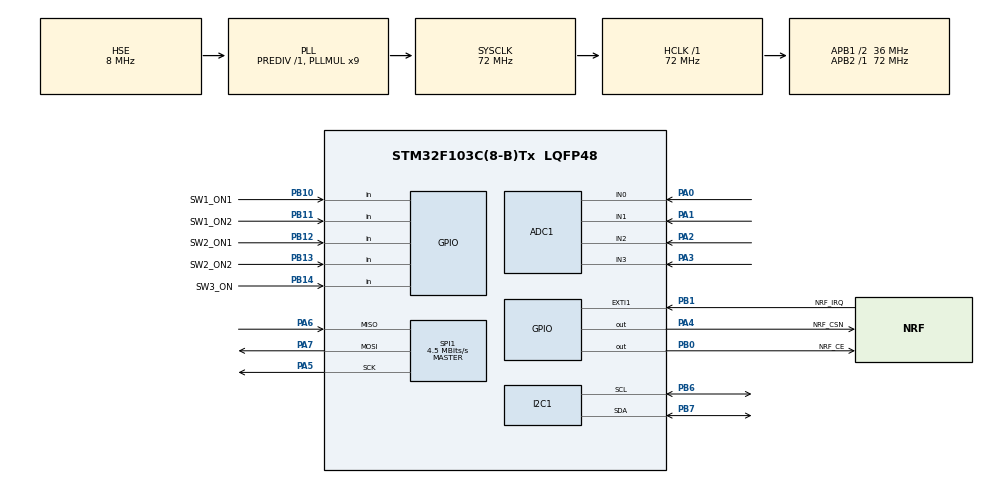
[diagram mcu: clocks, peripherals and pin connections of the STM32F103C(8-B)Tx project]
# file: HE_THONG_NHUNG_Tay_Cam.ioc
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ADC1.Channel-0\#ChannelRegularConversion=ADC_CHANNEL_0
ADC1.Channel-1\#ChannelRegularConversion=ADC_CHANNEL_1
ADC1.Channel-2\#ChannelRegularConversion=ADC_CHANNEL_2
ADC1.Channel-3\#ChannelRegularConversion=ADC_CHANNEL_3
ADC1.ContinuousConvMode=ENABLE
ADC1.NbrOfConversion=4
ADC1.NbrOfConversionFlag=1
ADC1.Rank-0\#ChannelRegularConversion=1
ADC1.Rank-1\#ChannelRegularConversion=2
ADC1.Rank-2\#ChannelRegularConversion=3
ADC1.Rank-3\#ChannelRegularConversion=4
ADC1.SamplingTime-0\#ChannelRegularConversion=ADC_SAMPLETIME_55CYCLES_5
ADC1.SamplingTime-1\#ChannelRegularConversion=ADC_SAMPLETIME_55CYCLES_5
ADC1.SamplingTime-2\#ChannelRegularConversion=ADC_SAMPLETIME_55CYCLES_5
ADC1.SamplingTime-3\#ChannelRegularConversion=ADC_SAMPLETIME_55CYCLES_5
ADC1.master=1
Dma.ADC1.0.Direction=DMA_PERIPH_TO_MEMORY
Dma.ADC1.0.Instance=DMA1_Channel1
Dma.ADC1.0.MemDataAlignment=DMA_MDATAALIGN_HALFWORD
Dma.ADC1.0.MemInc=DMA_MINC_ENABLE
Dma.ADC1.0.Mode=DMA_CIRCULAR
Dma.ADC1.0.PeriphDataAlignment=DMA_PDATAALIGN_HALFWORD
Dma.ADC1.0.PeriphInc=DMA_PINC_DISABLE
Dma.ADC1.0.Priority=DMA_PRIORITY_LOW
Dma.Request0=ADC1
FREERTOS.Tasks01=defaultTask,24,128,StartDefaultTask,Default,NULL,Dynamic,NULL,NULL
FREERTOS.configUSE_NEWLIB_REENTRANT=1
Mcu.Family=STM32F1
Mcu.Name=STM32F103C(8-B)Tx
Mcu.Package=LQFP48
NVIC.ADC1_2_IRQn=true\:5\:0\:false\:false\:true\:true\:true\:true\:true
NVIC.DMA1_Channel1_IRQn=true\:5\:0\:false\:false\:true\:true\:false\:true\:true
NVIC.EXTI1_IRQn=true\:6\:0\:true\:false\:true\:false\:true\:true\:true
NVIC.PriorityGroup=NVIC_PRIORITYGROUP_4
NVIC.TIM4_IRQn=true\:0\:0\:true\:false\:true\:false\:false\:true\:true
NVIC.TimeBase=TIM4_IRQn
NVIC.TimeBaseIP=TIM4
PA0-WKUP.Signal=ADCx_IN0
PA1.Signal=ADCx_IN1
PA13.Mode=Serial_Wire
PA13.Signal=SYS_JTMS-SWDIO
PA14.Mode=Serial_Wire
PA14.Signal=SYS_JTCK-SWCLK
PA2.Signal=ADCx_IN2
PA3.Signal=ADCx_IN3
PA4.GPIO_Label=NRF_CSN
PA4.GPIO_PuPd=GPIO_PULLUP
PA4.GPIO_Speed=GPIO_SPEED_FREQ_HIGH
PA4.PinState=GPIO_PIN_SET
PA4.Signal=GPIO_Output
PA5.Mode=Full_Duplex_Master
PA5.Signal=SPI1_SCK
PA6.Mode=Full_Duplex_Master
PA6.Signal=SPI1_MISO
PA7.Mode=Full_Duplex_Master
PA7.Signal=SPI1_MOSI
PB0.GPIO_Label=NRF_CE
PB0.GPIO_PuPd=GPIO_PULLDOWN
PB0.GPIO_Speed=GPIO_SPEED_FREQ_HIGH
PB0.PinState=GPIO_PIN_RESET
PB0.Signal=GPIO_Output
PB1.GPIO_Label=NRF_IRQ
PB1.GPIO_ModeDefaultEXTI=GPIO_MODE_IT_FALLING
PB1.GPIO_PuPd=GPIO_PULLUP
PB1.Signal=GPXTI1
PB10.GPIO_Label=SW1_ON1
PB10.GPIO_PuPd=GPIO_PULLUP
PB10.Signal=GPIO_Input
PB11.GPIO_Label=SW1_ON2
PB11.GPIO_PuPd=GPIO_PULLUP
PB11.Signal=GPIO_Input
PB12.GPIO_Label=SW2_ON1
PB12.GPIO_PuPd=GPIO_PULLUP
PB12.Signal=GPIO_Input
PB13.GPIO_Label=SW2_ON2
PB13.GPIO_PuPd=GPIO_PULLUP
PB13.Signal=GPIO_Input
PB14.GPIO_Label=SW3_ON
PB14.GPIO_PuPd=GPIO_PULLUP
PB14.Signal=GPIO_Input
PB6.Mode=I2C
PB6.Signal=I2C1_SCL
PB7.Mode=I2C
PB7.Signal=I2C1_SDA
PD0-OSC_IN.Mode=HSE-External-Oscillator
PD0-OSC_IN.Signal=RCC_OSC_IN
PD1-OSC_OUT.Mode=HSE-External-Oscillator
PD1-OSC_OUT.Signal=RCC_OSC_OUT
ProjectManager.HeapSize=0x200
ProjectManager.StackSize=0x400
ProjectManager.TargetToolchain=STM32CubeIDE
RCC.ADCPresc=RCC_ADCPCLK2_DIV6
RCC.AHBFreq_Value=72000000
RCC.APB1CLKDivider=RCC_HCLK_DIV2
RCC.APB1Freq_Value=36000000
RCC.APB1TimFreq_Value=72000000
RCC.APB2Freq_Value=72000000
RCC.APB2TimFreq_Value=72000000
RCC.HCLKFreq_Value=72000000
RCC.PLLMUL=RCC_PLL_MUL9
RCC.PLLSourceVirtual=RCC_PLLSOURCE_HSE
RCC.SYSCLKFreq_VALUE=72000000
RCC.SYSCLKSource=RCC_SYSCLKSOURCE_PLLCLK
RCC.USBFreq_Value=72000000
SH.ADCx_IN0.0=ADC1_IN0,IN0
SH.ADCx_IN1.0=ADC1_IN1,IN1
SH.ADCx_IN2.0=ADC1_IN2,IN2
SH.ADCx_IN3.0=ADC1_IN3,IN3
SPI1.BaudRatePrescaler=SPI_BAUDRATEPRESCALER_16
SPI1.CalculateBaudRate=4.5 MBits/s
SPI1.Direction=SPI_DIRECTION_2LINES
SPI1.Mode=SPI_MODE_MASTER
SPI1.VirtualType=VM_MASTER
VP_FREERTOS_VS_CMSIS_V2.Mode=CMSIS_V2
VP_SYS_VS_tim4.Mode=TIM4
board=custom

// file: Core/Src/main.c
/* USER CODE BEGIN Header */
/**
  ******************************************************************************
  * @file           : main.c
  * @brief          : Main program body
  ******************************************************************************
  * @attention
  *
  * Copyright (c) 2026 STMicroelectronics.
  * All rights reserved.
  *
  * This software is licensed under terms that can be found in the LICENSE file
  * in the root directory of this software component.
  * If no LICENSE file comes with this software, it is provided AS-IS.
  *
  ******************************************************************************
  */
/* USER CODE END Header */
#include "main.h"
#include "cmsis_os.h"
#include "nrf24.h"
#include <stdio.h>

ADC_HandleTypeDef hadc1;
DMA_HandleTypeDef hdma_adc1;

I2C_HandleTypeDef hi2c1;

SPI_HandleTypeDef hspi1;

/* Definitions for defaultTask */
osThreadId_t defaultTaskHandle;
const osThreadAttr_t defaultTask_attributes = {
  .name = "defaultTask",
  .stack_size = 128 * 4,
  .priority = (osPriority_t) osPriorityNormal,
};
/* USER CODE BEGIN PV */

uint16_t joy_data[4];    // Mảng dữ liệu từ ADC DMA (X1, Y1, X2, Y2)
uint8_t joy_scaled[4];
uint8_t nrf_address[5] = {0x11, 0x22, 0x33, 0x44, 0x55}; // Địa chỉ truyền nhận
uint8_t tx_packet[8];    // Gói tin sẽ gửi đi (8 byte)
uint8_t nrf_status = 0;  // Biến kiểm tra nRF có sống không

// Biến trạng thái xe
typedef struct {
    uint8_t left_signal;    // 0: tắt, 1: bật xi nhan trái
    uint8_t right_signal;   // 0: tắt, 1: bật xi nhan phải
    uint8_t hazard;         // 0: tắt, 1: bật đèn khẩn cấp
    uint8_t gear_mode;      // 0: N, 1: R, 2: D (Drive)
    uint8_t drive_gear;     // 0: không xác định, 1, 2, 3 (chỉ dùng khi gear_mode == 2)
} VehicleState_t;

VehicleState_t vehicle = {0, 0, 0, 0, 0};  // Khởi tạo drive_gear = 0

/* USER CODE END PV */

void SystemClock_Config(void);
static void MX_GPIO_Init(void);
static void MX_DMA_Init(void);
static void MX_ADC1_Init(void);
static void MX_I2C1_Init(void);
static void MX_SPI1_Init(void);
void StartDefaultTask(void *argument);

/* USER CODE BEGIN 0 */

// Hàm xử lý công tắc xi nhan (PB10, PB11)
void ProcessTurnSignals(uint8_t sw1_on1, uint8_t sw1_on2) {
    // Ưu tiên hazard cao nhất
    if (vehicle.hazard) {
        vehicle.left_signal = 0;   // Hazard sẽ tự xử lý nhấp nháy ở xe
        vehicle.right_signal = 0;
        return;
    }

    // Xử lý xi nhan bình thường
    // LƯU Ý: sw1_on1 và sw1_on2 đã được đảo logic từ pull-up
    // sw1_on1 = 1, sw1_on2 = 0 → Vị trí TRÁI (gạt sang trái)
    // sw1_on1 = 0, sw1_on2 = 1 → Vị trí PHẢI (gạt sang phải)
    // sw1_on1 = 0, sw1_on2 = 0 → Vị trí GIỮA (tắt)

    if (sw1_on1 && !sw1_on2) {
        vehicle.left_signal = 1;   // Xi nhan trái
        vehicle.right_signal = 0;
    }
    else if (!sw1_on1 && sw1_on2) {
        vehicle.left_signal = 0;
        vehicle.right_signal = 1;  // Xi nhan phải
    }
    else {
        vehicle.left_signal = 0;
        vehicle.right_signal = 0;
    }
}

// Hàm xử lý hộp số (PB12, PB13) - dùng joy1_y dạng 8-bit
void ProcessGear(uint8_t sw2_on1, uint8_t sw2_on2, uint8_t joy1_y_8bit) {
    // Xác định chế độ hộp số
    // sw2_on1 = 1, sw2_on2 = 0 → Vị trí TRÁI → R (lùi)
    // sw2_on1 = 0, sw2_on2 = 1 → Vị trí PHẢI → D (Drive - tiến)
    // sw2_on1 = 0, sw2_on2 = 0 → Vị trí GIỮA → N (trung gian)

    if (sw2_on1 && !sw2_on2) {
        vehicle.gear_mode = 1;  // R (lùi)
        vehicle.drive_gear = 0; // Reset số tiến
    }
    else if (!sw2_on1 && sw2_on2) {
        vehicle.gear_mode = 2;  // D (Drive - tiến)

        // Nếu ở chế độ D, dùng joystick trái (Y) để chọn số 1, 2, 3
        // joy1_y_8bit có giá trị 0-255
        // Chia làm 3 vùng:
        // 0-85: số 1
        // 86-170: số 2
        // 171-255: số 3
        if (joy1_y_8bit < 86) {
            vehicle.drive_gear = 1;
        }
        else if (joy1_y_8bit < 171) {
            vehicle.drive_gear = 2;
        }
        else {
            vehicle.drive_gear = 3;
        }
    }
    else {
        vehicle.gear_mode = 0;  // N (trung gian)
        vehicle.drive_gear = 0; // Reset số tiến
    }
}

/* USER CODE END 0 */

int main(void)
{

  /* MCU Configuration--------------------------------------------------------*/

  /* Reset of all peripherals, Initializes the Flash interface and the Systick. */
  HAL_Init();

  /* Configure the system clock */
  SystemClock_Config();

  /* Initialize all configured peripherals */
  MX_GPIO_Init();
  MX_DMA_Init();
  MX_ADC1_Init();
  MX_I2C1_Init();
  MX_SPI1_Init();
  /* USER CODE BEGIN 2 */
  HAL_ADC_Start_DMA(&hadc1, (uint32_t*)joy_data, 4);
  HAL_Delay(100);
  /* USER CODE END 2 */

  /* Init scheduler */
  osKernelInitialize();

  /* Create the thread(s) */
  /* creation of defaultTask */
  defaultTaskHandle = osThreadNew(StartDefaultTask, NULL, &defaultTask_attributes);

  /* Start scheduler */
  osKernelStart();

  /* We should never get here as control is now taken by the scheduler */

  /* Infinite loop */
  while (1)
  {

  }
}

void SystemClock_Config(void)
{
  RCC_OscInitTypeDef RCC_OscInitStruct = {0};
  RCC_ClkInitTypeDef RCC_ClkInitStruct = {0};
  RCC_PeriphCLKInitTypeDef PeriphClkInit = {0};

  /** Initializes the RCC Oscillators according to the specified parameters
  * in the RCC_OscInitTypeDef structure.
  */
  RCC_OscInitStruct.OscillatorType = RCC_OSCILLATORTYPE_HSE;
  RCC_OscInitStruct.HSEState = RCC_HSE_ON;
  RCC_OscInitStruct.HSEPredivValue = RCC_HSE_PREDIV_DIV1;
  RCC_OscInitStruct.HSIState = RCC_HSI_ON;
  RCC_OscInitStruct.PLL.PLLState = RCC_PLL_ON;
  RCC_OscInitStruct.PLL.PLLSource = RCC_PLLSOURCE_HSE;
  RCC_OscInitStruct.PLL.PLLMUL = RCC_PLL_MUL9;
  if (HAL_RCC_OscConfig(&RCC_OscInitStruct) != HAL_OK)
  {
    Error_Handler();
  }

  /** Initializes the CPU, AHB and APB buses clocks
  */
  RCC_ClkInitStruct.ClockType = RCC_CLOCKTYPE_HCLK|RCC_CLOCKTYPE_SYSCLK
                              |RCC_CLOCKTYPE_PCLK1|RCC_CLOCKTYPE_PCLK2;
  RCC_ClkInitStruct.SYSCLKSource = RCC_SYSCLKSOURCE_PLLCLK;
  RCC_ClkInitStruct.AHBCLKDivider = RCC_SYSCLK_DIV1;
  RCC_ClkInitStruct.APB1CLKDivider = RCC_HCLK_DIV2;
  RCC_ClkInitStruct.APB2CLKDivider = RCC_HCLK_DIV1;

  if (HAL_RCC_ClockConfig(&RCC_ClkInitStruct, FLASH_LATENCY_2) != HAL_OK)
  {
    Error_Handler();
  }
  PeriphClkInit.PeriphClockSelection = RCC_PERIPHCLK_ADC;
  PeriphClkInit.AdcClockSelection = RCC_ADCPCLK2_DIV6;
  if (HAL_RCCEx_PeriphCLKConfig(&PeriphClkInit) != HAL_OK)
  {
    Error_Handler();
  }
}

static void MX_ADC1_Init(void)
{

  ADC_ChannelConfTypeDef sConfig = {0};

  /** Common config
  */
  hadc1.Instance = ADC1;
  hadc1.Init.ScanConvMode = ADC_SCAN_ENABLE;
  hadc1.Init.ContinuousConvMode = ENABLE;
  hadc1.Init.DiscontinuousConvMode = DISABLE;
  hadc1.Init.ExternalTrigConv = ADC_SOFTWARE_START;
  hadc1.Init.DataAlign = ADC_DATAALIGN_RIGHT;
  hadc1.Init.NbrOfConversion = 4;
  if (HAL_ADC_Init(&hadc1) != HAL_OK)
  {
    Error_Handler();
  }

  /** Configure Regular Channel
  */
  sConfig.Channel = ADC_CHANNEL_0;
  sConfig.Rank = ADC_REGULAR_RANK_1;
  sConfig.SamplingTime = ADC_SAMPLETIME_55CYCLES_5;
  if (HAL_ADC_ConfigChannel(&hadc1, &sConfig) != HAL_OK)
  {
    Error_Handler();
  }

  /** Configure Regular Channel
  */
  sConfig.Channel = ADC_CHANNEL_1;
  sConfig.Rank = ADC_REGULAR_RANK_2;
  if (HAL_ADC_ConfigChannel(&hadc1, &sConfig) != HAL_OK)
  {
    Error_Handler();
  }

  /** Configure Regular Channel
  */
  sConfig.Channel = ADC_CHANNEL_2;
  sConfig.Rank = ADC_REGULAR_RANK_3;
  if (HAL_ADC_ConfigChannel(&hadc1, &sConfig) != HAL_OK)
  {
    Error_Handler();
  }

  /** Configure Regular Channel
  */
  sConfig.Channel = ADC_CHANNEL_3;
  sConfig.Rank = ADC_REGULAR_RANK_4;
  if (HAL_ADC_ConfigChannel(&hadc1, &sConfig) != HAL_OK)
  {
    Error_Handler();
  }

}

static void MX_I2C1_Init(void)
{

  hi2c1.Instance = I2C1;
  hi2c1.Init.ClockSpeed = 100000;
  hi2c1.Init.DutyCycle = I2C_DUTYCYCLE_2;
  hi2c1.Init.OwnAddress1 = 0;
  hi2c1.Init.AddressingMode = I2C_ADDRESSINGMODE_7BIT;
  hi2c1.Init.DualAddressMode = I2C_DUALADDRESS_DISABLE;
  hi2c1.Init.OwnAddress2 = 0;
  hi2c1.Init.GeneralCallMode = I2C_GENERALCALL_DISABLE;
  hi2c1.Init.NoStretchMode = I2C_NOSTRETCH_DISABLE;
  if (HAL_I2C_Init(&hi2c1) != HAL_OK)
  {
    Error_Handler();
  }

}

static void MX_SPI1_Init(void)
{

  /* SPI1 parameter configuration*/
  hspi1.Instance = SPI1;
  hspi1.Init.Mode = SPI_MODE_MASTER;
  hspi1.Init.Direction = SPI_DIRECTION_2LINES;
  hspi1.Init.DataSize = SPI_DATASIZE_8BIT;
  hspi1.Init.CLKPolarity = SPI_POLARITY_LOW;
  hspi1.Init.CLKPhase = SPI_PHASE_1EDGE;
  hspi1.Init.NSS = SPI_NSS_SOFT;
  hspi1.Init.BaudRatePrescaler = SPI_BAUDRATEPRESCALER_16;
  hspi1.Init.FirstBit = SPI_FIRSTBIT_MSB;
  hspi1.Init.TIMode = SPI_TIMODE_DISABLE;
  hspi1.Init.CRCCalculation = SPI_CRCCALCULATION_DISABLE;
  hspi1.Init.CRCPolynomial = 10;
  if (HAL_SPI_Init(&hspi1) != HAL_OK)
  {
    Error_Handler();
  }

}

static void MX_DMA_Init(void)
{

  /* DMA controller clock enable */
  __HAL_RCC_DMA1_CLK_ENABLE();

  /* DMA interrupt init */
  /* DMA1_Channel1_IRQn interrupt configuration */
  HAL_NVIC_SetPriority(DMA1_Channel1_IRQn, 5, 0);
  HAL_NVIC_EnableIRQ(DMA1_Channel1_IRQn);

}

static void MX_GPIO_Init(void)
{
  GPIO_InitTypeDef GPIO_InitStruct = {0};

  /* GPIO Ports Clock Enable */
  __HAL_RCC_GPIOD_CLK_ENABLE();
  __HAL_RCC_GPIOA_CLK_ENABLE();
  __HAL_RCC_GPIOB_CLK_ENABLE();

  /*Configure GPIO pin Output Level */
  HAL_GPIO_WritePin(NRF_CSN_GPIO_Port, NRF_CSN_Pin, GPIO_PIN_SET);

  /*Configure GPIO pin Output Level */
  HAL_GPIO_WritePin(NRF_CE_GPIO_Port, NRF_CE_Pin, GPIO_PIN_RESET);

  /*Configure GPIO pin : NRF_CSN_Pin */
  GPIO_InitStruct.Pin = NRF_CSN_Pin;
  GPIO_InitStruct.Mode = GPIO_MODE_OUTPUT_PP;
  GPIO_InitStruct.Pull = GPIO_PULLUP;
  GPIO_InitStruct.Speed = GPIO_SPEED_FREQ_HIGH;
  HAL_GPIO_Init(NRF_CSN_GPIO_Port, &GPIO_InitStruct);

  /*Configure GPIO pin : NRF_CE_Pin */
  GPIO_InitStruct.Pin = NRF_CE_Pin;
  GPIO_InitStruct.Mode = GPIO_MODE_OUTPUT_PP;
  GPIO_InitStruct.Pull = GPIO_PULLDOWN;
  GPIO_InitStruct.Speed = GPIO_SPEED_FREQ_HIGH;
  HAL_GPIO_Init(NRF_CE_GPIO_Port, &GPIO_InitStruct);

  /*Configure GPIO pin : NRF_IRQ_Pin */
  GPIO_InitStruct.Pin = NRF_IRQ_Pin;
  GPIO_InitStruct.Mode = GPIO_MODE_IT_FALLING;
  GPIO_InitStruct.Pull = GPIO_PULLUP;
  HAL_GPIO_Init(NRF_IRQ_GPIO_Port, &GPIO_InitStruct);

  /*Configure GPIO pins : SW1_ON1_Pin SW1_ON2_Pin SW2_ON1_Pin SW2_ON2_Pin
                           SW3_ON_Pin */
  GPIO_InitStruct.Pin = SW1_ON1_Pin|SW1_ON2_Pin|SW2_ON1_Pin|SW2_ON2_Pin
                          |SW3_ON_Pin;
  GPIO_InitStruct.Mode = GPIO_MODE_INPUT;
  GPIO_InitStruct.Pull = GPIO_PULLUP;
  HAL_GPIO_Init(GPIOB, &GPIO_InitStruct);

  /* EXTI interrupt init*/
  HAL_NVIC_SetPriority(EXTI1_IRQn, 6, 0);
  HAL_NVIC_EnableIRQ(EXTI1_IRQn);

}

void StartDefaultTask(void *argument)
{
	/* USER CODE BEGIN 5 */
	  // --- KHỞI TẠO NRF24 ---
	  nRF24_Init();

	  // Kiểm tra xem module có phản hồi không
	  if (nRF24_Check()) {
	      nrf_status = 1; // nRF hoạt động tốt
	  } else {
	      nrf_status = 0; // nRF bị lỗi hoặc lỏng dây
	  }

	  // Cấu hình thông số truyền
	  nRF24_SetRFChannel(76);              // Chọn kênh 76 (tránh nhiễu Wifi)
	  nRF24_SetDataRate(nRF24_DR_1Mbps);   // Tốc độ 1Mbps cho ổn định
	  nRF24_SetAddrWidth(5);               // Độ dài địa chỉ 5 byte
	  nRF24_SetAddr(nRF24_PIPETX, nrf_address);
	  nRF24_SetTXPower(nRF24_TXPWR_0dBm);  // Công suất phát mạnh nhất
	  nRF24_SetOperationalMode(nRF24_MODE_TX); // Chế độ Phát
	  nRF24_SetPowerMode(nRF24_PWR_UP);    // Bật nguồn module

	  /* Infinite loop */
	  for(;;)
	    {
	      // --- BƯỚC 1: QUY ĐỔI JOYSTICK VỀ THANG 0-100 ---
	      for (int i = 0; i < 4; i++) {
	          // Ép kiểu uint32_t để tránh tràn số khi nhân 100
	          joy_scaled[i] = (uint8_t)(((uint32_t)joy_data[i] * 100 + 2047) / 4095);
	      }

	      // --- BƯỚC 2: ĐỌC CÔNG TẮC ---
	      uint8_t sw1_on1 = !HAL_GPIO_ReadPin(GPIOB, SW1_ON1_Pin);
	      uint8_t sw1_on2 = !HAL_GPIO_ReadPin(GPIOB, SW1_ON2_Pin);
	      uint8_t sw2_on1 = !HAL_GPIO_ReadPin(GPIOB, SW2_ON1_Pin);
	      uint8_t sw2_on2 = !HAL_GPIO_ReadPin(GPIOB, SW2_ON2_Pin);
	      uint8_t sw3_on  = !HAL_GPIO_ReadPin(GPIOB, SW3_ON_Pin);

	      // Xử lý logic xe (Xi nhan, Hộp số) như cũ...
	      ProcessTurnSignals(sw1_on1, sw1_on2);
	      ProcessGear(sw2_on1, sw2_on2, joy_scaled[1]); // Dùng Y1 đã quy đổi (0-100)

	      // --- BƯỚC 3: ĐÓNG GÓI GÓI TIN TỪ MẢNG JOY_SCALED ---
	      tx_packet[0] = joy_scaled[0];         // X1 (0-100)
	      tx_packet[1] = joy_scaled[1];         // Y1 (0-100)
	      tx_packet[2] = joy_scaled[2];         // X2 (0-100)
	      tx_packet[3] = joy_scaled[3];         // Y2 (0-100)
	      tx_packet[4] = vehicle.left_signal;
	      tx_packet[5] = vehicle.right_signal;
	      tx_packet[6] = vehicle.hazard;
	      tx_packet[7] = (vehicle.gear_mode << 2) | (vehicle.drive_gear & 0x03);

	      // --- BƯỚC 4: GỬI QUA NRF24 ---
	      if (nrf_status == 1) {
	          nRF24_WritePayload(tx_packet, 8);
	          nRF24_CE_H();
	          osDelay(1);
	          nRF24_CE_L();
	          nRF24_ClearIRQFlags();
	      }

	      osDelay(20);
	    }
	  /* USER CODE END 5 */
}

void HAL_TIM_PeriodElapsedCallback(TIM_HandleTypeDef *htim)
{
  if (htim->Instance == TIM4)
  {
    HAL_IncTick();
  }
}

void Error_Handler(void)
{
  __disable_irq();
  while (1)
  {
  }
}
